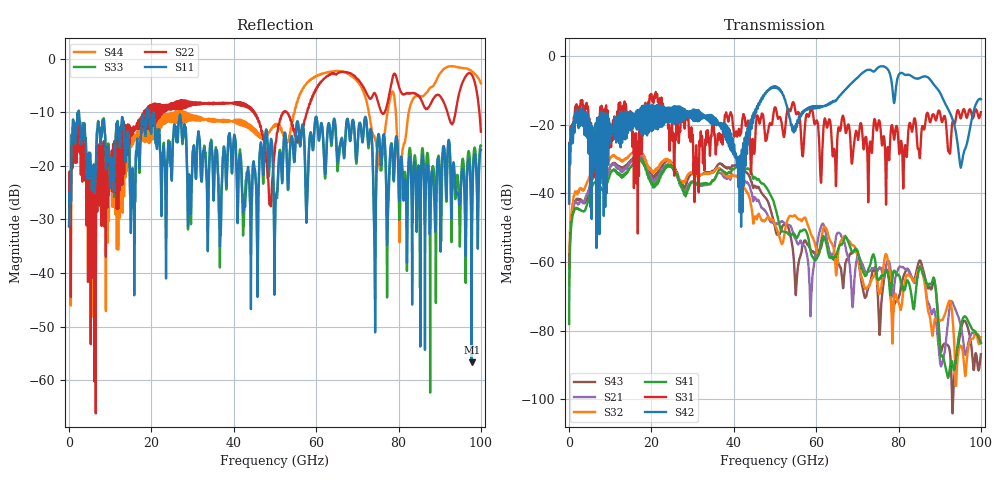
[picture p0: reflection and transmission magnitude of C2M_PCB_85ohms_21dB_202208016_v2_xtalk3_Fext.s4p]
! Info: Touchstone file created by Circ.  Input file=Intel_C2M_200G_8p0in_202208016_staggered.circ
# Hz S RI R 50
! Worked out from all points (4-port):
!   10000 points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, 10 MHz to 100 GHz, reference 50 ohm
!   strongest paths, dB at 10 MHz, 25.01 GHz, 50.01 GHz, 75.01 GHz, 100 GHz:
!     S42: -42.9, -18.8, -9.2, -3.3, -12.5
!     S31: -43.0, -20.2, -14.9, -19.9, -16.2
!     S41: -78.1, -32.4, -43.8, -65.0, -83.7
!     S32: -61.0, -31.6, -48.9, -67.1, -82.0
!     S21: -64.1, -32.5, -48.6, -62.2, -83.4
!     S43: -66.8, -31.5, -49.9, -70.5, -86.9
!   lowest |S11| = -56.6 dB at 97.76 GHz (marker M1), VSWR 1.00, Z = 50.1 - j0.0533 ohm
!   |S11| at or under -10 dB: start of sweep to 2.299 GHz; 2.391 GHz to 18.96 GHz (16.57 GHz wide, 155 % of centre); 19.41 GHz to end of sweep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
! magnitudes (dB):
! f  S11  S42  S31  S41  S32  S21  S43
! 10 MHz  -31.2  -42.9  -43.0  -78.1  -61.0  -64.1  -66.8
! 6.24 GHz  -24.5  -28.7  -25.9  -36.8  -32.1  -34.9  -34.8
! 40.83 GHz  -27.6  -31.2  -23.3  -32.2  -35.1  -34.7  -31.6
! 55.13 GHz  -13.3  -19.7  -16.8  -52.8  -46.7  -53.6  -68.4
! 80.34 GHz  -22.2  -4.9  -27.0  -64.5  -73.1  -61.3  -69.2
! 97.76 GHz  -56.6  -18.4  -17.0  -79.4  -82.4  -80.9  -85.3
! 100 GHz  -16.9  -12.5  -16.2  -83.7  -82.0  -83.4  -86.9
